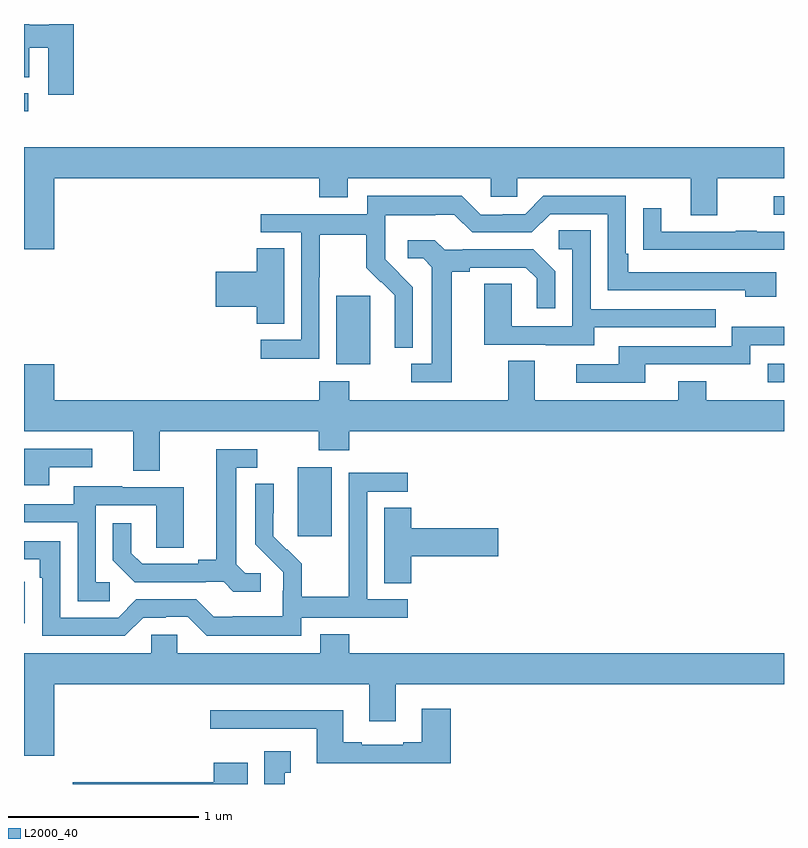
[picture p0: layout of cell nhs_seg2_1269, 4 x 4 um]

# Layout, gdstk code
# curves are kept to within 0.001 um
import gdstk
lib = gdstk.Library(unit=1e-6, precision=1e-09)
def R(c, l, rs):  # rectangles x0, y0, x1, y1
    for r in rs: c.add(gdstk.rectangle(r[:2], r[2:], *l))
def P(c, l, *ps):  # polygons
    for p in ps: c.add(gdstk.Polygon(p, *l))
L2000_40 = (2000, 40)

nhs_seg2_1269 = lib.new_cell('nhs_seg2_1269')
R(nhs_seg2_1269, L2000_40, [(177,626.646,177.005,626.864), (178.442,627.105,178.621,627.466), (180.915,627.915,181,628.011), (178.643,628.01,178.822,628.371), (180.945,628.797,181,628.893), (177,629.34,177.022,629.436)])
P(nhs_seg2_1269, L2000_40, [(177.263,629.8),(177.132,629.8),(177.132,629.797),(177.028,629.797),(177.028,629.8),(177,629.8),(177,629.521),(177.028,629.521),(177.028,629.675),(177.128,629.675),(177.128,629.427),(177.263,629.427)],
  [(177.16,628.988),(178.553,628.988),(178.553,628.889),(178.705,628.889),(178.705,628.988),(179.457,628.988),(179.457,628.89),(179.595,628.89),(179.595,628.988),(180.509,628.988),(180.509,628.794),(180.649,628.794),(180.649,628.988),(181,628.988),(181,629.152),(177,629.152),(177,628.614),(177.16,628.614)],
  [(178.554,628.468),(178.557,628.468),(178.557,628.692),(178.801,628.692),(178.801,628.517),(178.878,628.44),(178.881,628.443),(178.952,628.373),(178.952,628.25),(178.95,628.25),(178.95,628.096),(179.046,628.096),(179.046,628.414),(178.9,628.562),(178.9,628.659),(178.902,628.659),(178.902,628.793),(179.165,628.793),(179.165,628.797),(179.265,628.797),(179.358,628.704),(179.673,628.704),(179.769,628.8),(180.072,628.8),(180.072,628.398),(180.797,628.398),(180.797,628.364),(180.958,628.364),(180.958,628.494),(180.181,628.494),(180.181,628.591),(180.168,628.591),(180.168,628.896),(179.733,628.896),(179.637,628.8),(179.519,628.8),(179.519,628.797),(179.403,628.797),(179.303,628.897),(178.806,628.897),(178.806,628.8),(178.245,628.8),(178.245,628.704),(178.458,628.704),(178.458,628.137),(178.245,628.137),(178.245,628.039),(178.554,628.039)],
  [(181,628.707),(180.857,628.707),(180.857,628.712),(180.745,628.712),(180.745,628.707),(180.355,628.707),(180.355,628.831),(180.259,628.831),(180.259,628.612),(180.361,628.612),(180.361,628.611),(181,628.611)],
  [(180.001,628.203),(180.641,628.203),(180.641,628.299),(179.982,628.299),(179.982,628.715),(179.814,628.715),(179.814,628.614),(179.886,628.614),(179.886,628.209),(179.568,628.209),(179.568,628.433),(179.423,628.433),(179.423,628.113),(179.747,628.113),(179.747,628.109),(180.001,628.109)],
  [(179.251,628.496),(179.347,628.496),(179.347,628.518),(179.642,628.518),(179.699,628.461),(179.699,628.305),(179.796,628.305),(179.796,628.498),(179.68,628.614),(179.308,628.614),(179.308,628.611),(179.214,628.611),(179.162,628.663),(179.019,628.663),(179.019,628.566),(179.1,628.566),(179.147,628.519),(179.147,628.011),(179.037,628.011),(179.037,627.915),(179.251,627.915)],
  [(178.369,628.619),(178.226,628.619),(178.226,628.496),(178.008,628.496),(178.008,628.313),(178.226,628.313),(178.226,628.222),(178.369,628.222)],
  [(180.271,628.008),(180.822,628.008),(180.822,628.11),(181,628.11),(181,628.207),(180.726,628.207),(180.726,628.104),(180.131,628.104),(180.131,628.008),(179.907,628.008),(179.907,627.912),(180.271,627.912)],
  [(177.715,627.656),(178.552,627.656),(178.552,627.557),(178.712,627.557),(178.712,627.656),(181,627.656),(181,627.82),(180.591,627.82),(180.591,627.919),(180.443,627.919),(180.443,627.82),(179.689,627.82),(179.689,628.028),(179.549,628.028),(179.549,627.82),(178.713,627.82),(178.713,627.919),(178.553,627.919),(178.553,627.82),(177.16,627.82),(177.16,628.009),(177,628.009),(177,627.656),(177.575,627.656),(177.575,627.448),(177.715,627.448)],
  [(177.133,627.468),(177.358,627.468),(177.358,627.564),(177,627.564),(177,627.372),(177.133,627.372)],
  [(178.246,626.91),(178.164,626.91),(178.117,626.957),(178.117,627.465),(178.228,627.465),(178.228,627.561),(178.013,627.561),(178.013,626.981),(177.917,626.981),(177.917,626.958),(177.622,626.958),(177.565,627.015),(177.565,627.172),(177.468,627.172),(177.468,626.978),(177.584,626.862),(177.956,626.862),(177.956,626.865),(178.05,626.865),(178.102,626.813),(178.246,626.813)],
  [(178.458,626.676),(179.02,626.676),(179.02,626.772),(178.806,626.772),(178.806,627.339),(179.02,627.339),(179.02,627.438),(178.71,627.438),(178.71,627.008),(178.708,627.008),(178.708,626.785),(178.463,626.785),(178.463,626.959),(178.386,627.036),(178.383,627.033),(178.313,627.104),(178.314,627.38),(178.218,627.38),(178.218,627.062),(178.364,626.914),(178.364,626.817),(178.362,626.817),(178.362,626.683),(178.099,626.683),(178.099,626.679),(177.999,626.679),(177.906,626.772),(177.591,626.772),(177.495,626.676),(177.192,626.676),(177.192,627.078),(177,627.078),(177,626.982),(177.083,626.982),(177.083,626.885),(177.096,626.885),(177.096,626.58),(177.531,626.58),(177.627,626.676),(177.746,626.676),(177.746,626.679),(177.861,626.679),(177.961,626.579),(178.458,626.579)],
  [(177.451,626.862),(177.378,626.862),(177.378,627.267),(177.696,627.267),(177.696,627.043),(177.841,627.043),(177.841,627.363),(177.517,627.363),(177.517,627.367),(177.263,627.367),(177.263,627.273),(177,627.273),(177,627.177),(177.282,627.177),(177.282,626.761),(177.451,626.761)],
  [(179.039,626.999),(179.497,626.999),(179.497,627.146),(179.039,627.146),(179.039,627.254),(178.895,627.254),(178.895,626.857),(179.039,626.857)],
  [(177.16,626.324),(178.817,626.324),(178.817,626.13),(178.957,626.13),(178.957,626.324),(181,626.324),(181,626.488),(178.712,626.488),(178.712,626.587),(178.559,626.587),(178.559,626.488),(177.807,626.488),(177.807,626.586),(177.669,626.586),(177.669,626.488),(177,626.488),(177,625.95),(177.16,625.95)],
  [(179.246,626.197),(179.093,626.197),(179.093,626.02),(178.997,626.02),(178.997,626.007),(178.777,626.007),(178.777,626.02),(178.681,626.02),(178.681,626.188),(177.981,626.188),(177.981,626.091),(178.541,626.091),(178.541,625.91),(179.246,625.91)],
  [(178.372,625.859),(178.405,625.859),(178.405,625.972),(178.265,625.972),(178.265,625.8),(178.372,625.8)],
  [(178.177,625.912),(177.998,625.912),(177.998,625.808),(177.256,625.808),(177.256,625.8),(178.177,625.8)])

lib.write_gds('nhs_seg2_1269.gds')
